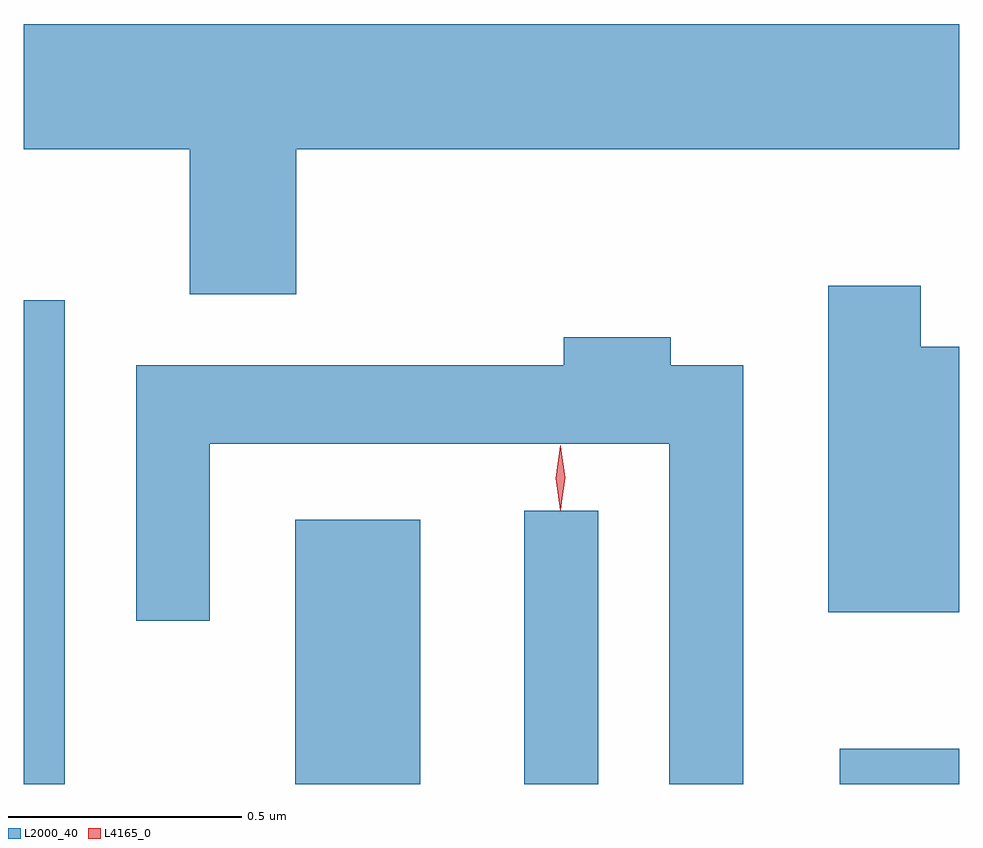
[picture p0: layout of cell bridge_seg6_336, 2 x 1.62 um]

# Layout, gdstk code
import gdstk
lib = gdstk.Library(unit=1e-6, precision=1e-09)
def R(c, l, rs):  # rectangles x0, y0, x1, y1
    for r in rs: c.add(gdstk.rectangle(r[:2], r[2:], *l))
def P(c, l, *ps):  # polygons
    for p in ps: c.add(gdstk.Polygon(p, *l))
L2000_40 = (2000, 40)
L4165_0 = (4165, 0)

bridge_seg6_336 = lib.new_cell('bridge_seg6_336')
R(bridge_seg6_336, L2000_40, [(1318.396,1559.779,1318.484,1560.813), (1318.976,1559.779,1319.244,1560.344), (1319.466,1559.779,1319.624,1560.363), (1320.141,1559.779,1320.396,1559.854)])
P(bridge_seg6_336, L2000_40, [(1318.979,1561.136),(1320.396,1561.136),(1320.396,1561.404),(1318.396,1561.404),(1318.396,1561.136),(1318.751,1561.136),(1318.751,1560.826),(1318.979,1560.826)],
  [(1320.396,1560.714),(1320.314,1560.714),(1320.314,1560.844),(1320.116,1560.844),(1320.116,1560.146),(1320.396,1560.146)],
  [(1319.934,1560.674),(1319.779,1560.674),(1319.779,1560.734),(1319.551,1560.734),(1319.551,1560.674),(1318.636,1560.674),(1318.636,1560.128),(1318.794,1560.128),(1318.794,1560.506),(1319.776,1560.506),(1319.776,1559.779),(1319.934,1559.779)])
P(bridge_seg6_336, L4165_0, [(1319.543,1560.363),(1319.543,1560.364),(1319.533,1560.433),(1319.543,1560.502),(1319.543,1560.503),(1319.544,1560.502),(1319.553,1560.433),(1319.544,1560.364)],
  [(1319.544,1560.367),(1319.543,1560.368),(1319.534,1560.434),(1319.543,1560.5),(1319.544,1560.5),(1319.544,1560.5),(1319.554,1560.434),(1319.544,1560.368)])

lib.write_gds('bridge_seg6_336.gds')
